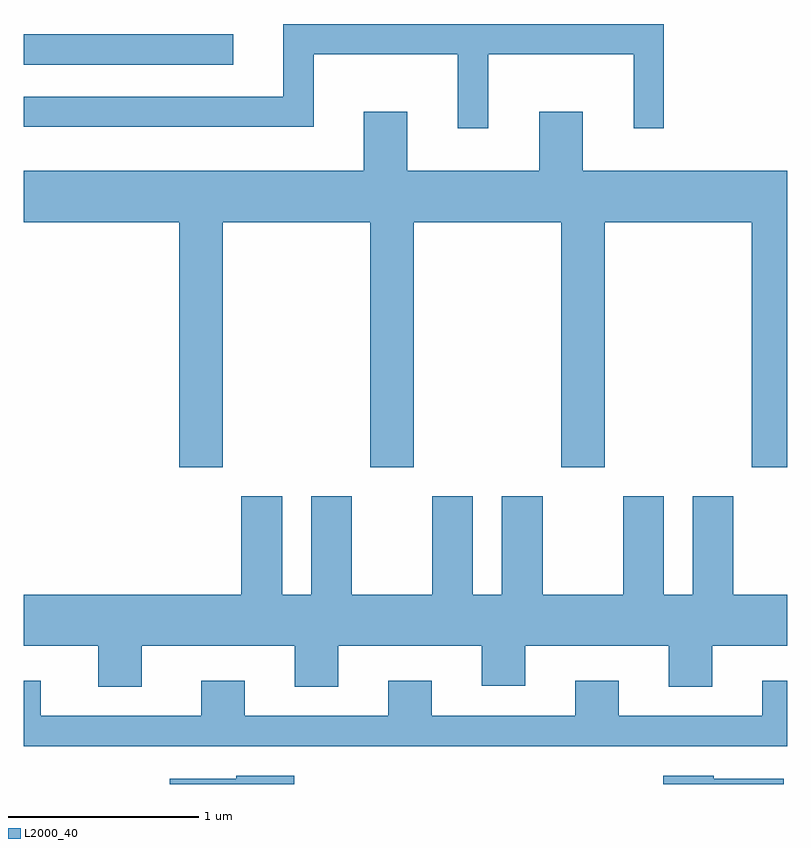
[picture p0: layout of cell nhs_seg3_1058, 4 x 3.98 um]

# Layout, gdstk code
import gdstk
lib = gdstk.Library(unit=1e-6, precision=1e-09)
def R(c, l, rs):  # rectangles x0, y0, x1, y1
    for r in rs: c.add(gdstk.rectangle(r[:2], r[2:], *l))
def P(c, l, *ps):  # polygons
    for p in ps: c.add(gdstk.Polygon(p, *l))
L2000_40 = (2000, 40)

nhs_seg3_1058 = lib.new_cell('nhs_seg3_1058')
R(nhs_seg3_1058, L2000_40, [(215.611,1195.661,216.708,1195.819)])
P(nhs_seg3_1058, L2000_40, [(218.044,1195.716),(218.806,1195.716),(218.806,1195.328),(218.964,1195.328),(218.964,1195.874),(216.971,1195.874),(216.971,1195.494),(215.611,1195.494),(215.611,1195.336),(217.129,1195.336),(217.129,1195.716),(217.886,1195.716),(217.886,1195.328),(218.044,1195.328)],
  [(218.539,1195.414),(218.311,1195.414),(218.311,1195.104),(217.619,1195.104),(217.619,1195.414),(217.391,1195.414),(217.391,1195.104),(215.611,1195.104),(215.611,1194.836),(216.426,1194.836),(216.426,1193.551),(216.654,1193.551),(216.654,1194.836),(217.426,1194.836),(217.426,1193.551),(217.654,1193.551),(217.654,1194.836),(218.426,1194.836),(218.426,1193.551),(218.654,1193.551),(218.654,1194.836),(219.426,1194.836),(219.426,1193.551),(219.611,1193.551),(219.611,1195.104),(218.539,1195.104)],
  [(216.229,1192.616),(217.031,1192.616),(217.031,1192.401),(217.259,1192.401),(217.259,1192.616),(218.011,1192.616),(218.011,1192.406),(218.239,1192.406),(218.239,1192.616),(218.991,1192.616),(218.991,1192.401),(219.219,1192.401),(219.219,1192.616),(219.611,1192.616),(219.611,1192.884),(219.329,1192.884),(219.329,1193.399),(219.116,1193.399),(219.116,1192.884),(218.964,1192.884),(218.964,1193.399),(218.751,1193.399),(218.751,1192.884),(218.329,1192.884),(218.329,1193.399),(218.116,1193.399),(218.116,1192.884),(217.964,1192.884),(217.964,1193.399),(217.751,1193.399),(217.751,1192.884),(217.329,1192.884),(217.329,1193.399),(217.116,1193.399),(217.116,1192.884),(216.964,1192.884),(216.964,1193.399),(216.751,1193.399),(216.751,1192.884),(215.611,1192.884),(215.611,1192.616),(216.001,1192.616),(216.001,1192.401),(216.229,1192.401)],
  [(219.611,1192.434),(219.481,1192.434),(219.481,1192.249),(218.729,1192.249),(218.729,1192.434),(218.501,1192.434),(218.501,1192.249),(217.749,1192.249),(217.749,1192.434),(217.521,1192.434),(217.521,1192.249),(216.769,1192.249),(216.769,1192.434),(216.541,1192.434),(216.541,1192.249),(215.699,1192.249),(215.699,1192.434),(215.611,1192.434),(215.611,1192.091),(219.611,1192.091)],
  [(217.029,1191.934),(216.725,1191.934),(216.725,1191.919),(216.376,1191.919),(216.376,1191.892),(217.029,1191.892)],
  [(219.594,1191.919),(219.225,1191.919),(219.225,1191.934),(218.961,1191.934),(218.961,1191.892),(219.594,1191.892)])

lib.write_gds('nhs_seg3_1058.gds')
